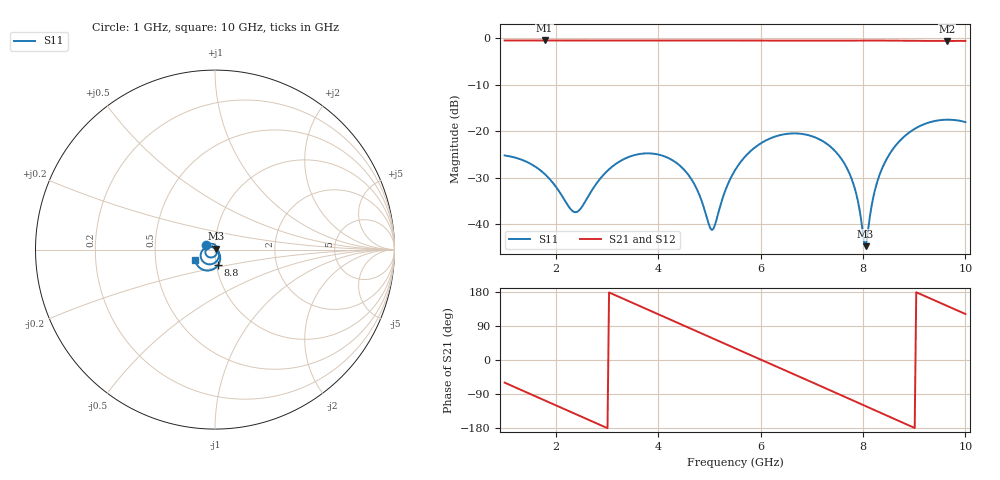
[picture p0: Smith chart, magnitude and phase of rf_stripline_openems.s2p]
! kicad2ems openEMS FDTD (rf_stripline); not computed (written as 0): S(P2,P2)
! ports: 1=P1, 2=P2
# Hz S RI R 50
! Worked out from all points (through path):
!   301 points, 1 GHz to 10 GHz, reference 50 ohm
!   highest |S21| = -0.49 dB at 1.78 GHz (marker M1); lowest = -0.6 dB at 9.64 GHz (marker M2)
!   group delay of S21, straight-line fit = 166 ps
!   lowest |S11| = -44.8 dB at 8.05 GHz (marker M3), VSWR 1.01, Z = 50.4 + j0.438 ohm
!   |S11| at or under -10 dB: start of sweep to end of sweep
!   |S22| runs from - to - dB; largest |S21 - S12| = 0
!   S11 on the Smith chart (normalised r, x): 1 GHz: 0.91, +0.05; 8.8 GHz: 1.02, -0.17; 10 GHz: 0.80, -0.09
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1e9  -0.0487 0.0248  0.4759 -0.8155  0.4759 -0.8155  0 0
1.39e9  -0.0336 0.0339  0.1144 -0.9377  0.1144 -0.9377  0 0
1.78e9  -0.0117 0.0326  -0.2665 -0.9064  -0.2665 -0.9064  0 0
2.32e9  0.012 0.00692  -0.7095 -0.6233  -0.7095 -0.6233  0 0
2.5e9  0.0139 -0.00575  -0.8132 -0.4795  -0.8132 -0.4795  0 0
3.22e9  -0.0157 -0.0434  -0.9202 0.2039  -0.9202 0.2039  0 0
4e9  -0.0535 -0.0165  -0.485 0.8082  -0.485 0.8082  0 0
4.6e9  -0.0296 0.015  0.081 0.9403  0.081 0.9403  0 0
5.05e9  0.00542 0.0067  0.4992 0.8014  0.4992 0.8014  0 0
5.5e9  0.0223 -0.0306  0.8078 0.4867  0.8078 0.4867  0 0
6.22e9  -0.0226 -0.0817  0.9193 -0.1953  0.9193 -0.1953  0 0
7e9  -0.0799 -0.0373  0.4911 -0.8014  0.4911 -0.8014  0 0
7.39e9  -0.066 0.000344  0.1336 -0.9322  0.1336 -0.9322  0 0
7.69e9  -0.0366 0.0148  -0.1618 -0.929  -0.1618 -0.929  0 0
7.87e9  -0.0158 0.0136  -0.334 -0.8824  -0.334 -0.8824  0 0
8.05e9  0.0038 0.00435  -0.4944 -0.8037  -0.4944 -0.8037  0 0
8.23e9  0.0193 -0.0121  -0.6369 -0.6957  -0.6369 -0.6957  0 0
8.5e9  0.0294 -0.0458  -0.8054 -0.4881  -0.8054 -0.4881  0 0
8.8e9  0.0179 -0.085  -0.9145 -0.2138  -0.9145 -0.2138  0 0
9.22e9  -0.0309 -0.1161  -0.9149 0.1944  -0.9149 0.1944  0 0
9.64e9  -0.0864 -0.1006  -0.7451 0.5625  -0.7451 0.5625  0 0
1e10  -0.1106 -0.0582  -0.4871 0.7975  -0.4871 0.7975  0 0
